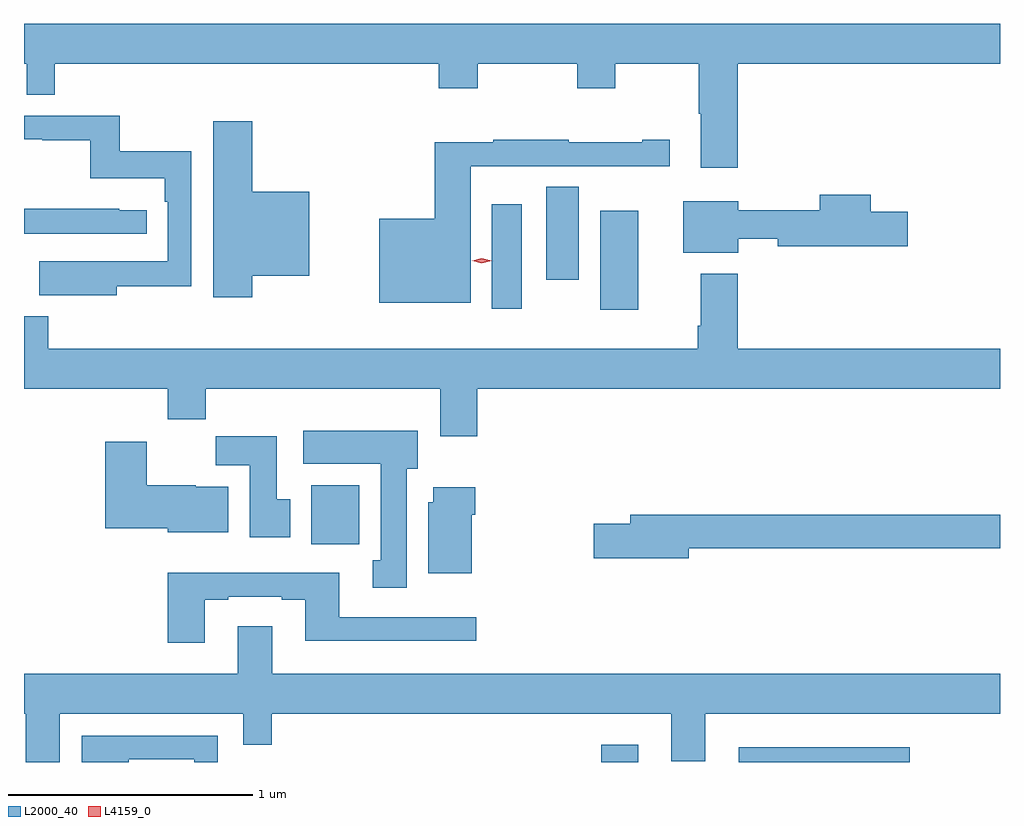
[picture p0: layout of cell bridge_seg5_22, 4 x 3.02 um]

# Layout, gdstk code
import gdstk
lib = gdstk.Library(unit=1e-6, precision=1e-09)
def R(c, l, rs):  # rectangles x0, y0, x1, y1
    for r in rs: c.add(gdstk.rectangle(r[:2], r[2:], *l))
def P(c, l, *ps):  # polygons
    for p in ps: c.add(gdstk.Polygon(p, *l))
L2000_40 = (2000, 40)
L4159_0 = (4159, 0)

bridge_seg5_22 = lib.new_cell('bridge_seg5_22')
R(bridge_seg5_22, L2000_40, [(959.237,879.207,959.389,879.277), (959.801,879.207,960.502,879.268), (958.049,880.1,958.246,880.342), (959.234,881.061,959.389,881.467), (958.79,881.064,958.912,881.494), (959.012,881.184,959.146,881.564)])
P(bridge_seg5_22, L2000_40, [(959.798,882.068),(960.872,882.068),(960.872,882.232),(956.872,882.232),(956.872,882.068),(956.883,882.068),(956.883,881.941),(956.999,881.941),(956.999,882.068),(958.571,882.068),(958.571,881.969),(958.731,881.969),(958.731,882.068),(959.14,882.068),(959.14,881.969),(959.295,881.969),(959.295,882.068),(959.638,882.068),(959.638,881.864),(959.645,881.864),(959.645,881.643),(959.798,881.643)],
  [(957.253,881.158),(957.558,881.158),(957.558,881.71),(957.265,881.71),(957.265,881.856),(956.872,881.856),(956.872,881.76),(956.947,881.76),(956.947,881.755),(957.144,881.755),(957.144,881.6),(957.449,881.6),(957.449,881.504),(957.462,881.504),(957.462,881.259),(957.149,881.259),(957.149,881.26),(956.935,881.26),(956.935,881.12),(957.253,881.12)],
  [(957.808,881.201),(958.042,881.201),(958.042,881.545),(957.808,881.545),(957.808,881.833),(957.647,881.833),(957.647,881.112),(957.808,881.112)],
  [(958.702,881.648),(958.908,881.648),(958.908,881.649),(959.242,881.649),(959.242,881.648),(959.518,881.648),(959.518,881.758),(959.405,881.758),(959.405,881.748),(959.105,881.748),(959.105,881.758),(958.795,881.758),(958.795,881.748),(958.556,881.748),(958.556,881.434),(958.328,881.434),(958.328,881.09),(958.702,881.09)],
  [(959.8,881.351),(959.961,881.351),(959.961,881.32),(960.493,881.32),(960.493,881.462),(960.343,881.462),(960.343,881.533),(960.134,881.533),(960.134,881.468),(959.8,881.468),(959.8,881.506),(959.573,881.506),(959.573,881.294),(959.8,881.294)],
  [(957.376,881.469),(957.263,881.469),(957.263,881.474),(956.872,881.474),(956.872,881.373),(957.376,881.373)],
  [(958.73,880.736),(960.872,880.736),(960.872,880.9),(959.798,880.9),(959.798,881.209),(959.645,881.209),(959.645,880.996),(959.633,880.996),(959.633,880.9),(956.972,880.9),(956.972,881.035),(956.872,881.035),(956.872,880.736),(957.461,880.736),(957.461,880.612),(957.617,880.612),(957.617,880.736),(958.577,880.736),(958.577,880.542),(958.73,880.542)],
  [(958.441,880.41),(958.486,880.41),(958.486,880.564),(958.017,880.564),(958.017,880.43),(958.334,880.43),(958.334,880.034),(958.301,880.034),(958.301,879.921),(958.441,879.921)],
  [(957.964,880.284),(957.907,880.284),(957.907,880.543),(957.658,880.543),(957.658,880.424),(957.797,880.424),(957.797,880.128),(957.964,880.128)],
  [(957.709,880.336),(957.576,880.336),(957.576,880.342),(957.376,880.342),(957.376,880.519),(957.206,880.519),(957.206,880.166),(957.462,880.166),(957.462,880.148),(957.709,880.148)],
  [(958.708,880.22),(958.721,880.22),(958.721,880.333),(958.55,880.333),(958.55,880.272),(958.529,880.272),(958.529,879.98),(958.708,879.98)],
  [(959.596,880.084),(960.872,880.084),(960.872,880.22),(959.357,880.22),(959.357,880.184),(959.208,880.184),(959.208,880.042),(959.596,880.042)],
  [(957.613,879.873),(957.709,879.873),(957.709,879.885),(957.929,879.885),(957.929,879.873),(958.025,879.873),(958.025,879.704),(958.726,879.704),(958.726,879.801),(958.165,879.801),(958.165,879.982),(957.461,879.982),(957.461,879.696),(957.613,879.696)],
  [(957.019,879.404),(957.771,879.404),(957.771,879.277),(957.887,879.277),(957.887,879.404),(959.525,879.404),(959.525,879.21),(959.665,879.21),(959.665,879.404),(960.872,879.404),(960.872,879.568),(957.889,879.568),(957.889,879.763),(957.749,879.763),(957.749,879.568),(956.872,879.568),(956.872,879.404),(956.88,879.404),(956.88,879.207),(957.019,879.207)],
  [(957.301,879.219),(957.57,879.219),(957.57,879.207),(957.666,879.207),(957.666,879.315),(957.108,879.315),(957.108,879.207),(957.301,879.207)])
P(bridge_seg5_22, L4159_0, [(958.749,881.252),(958.709,881.262),(958.709,881.262),(958.709,881.262),(958.749,881.272),(958.788,881.262),(958.789,881.262),(958.788,881.262)])

lib.write_gds('bridge_seg5_22.gds')
